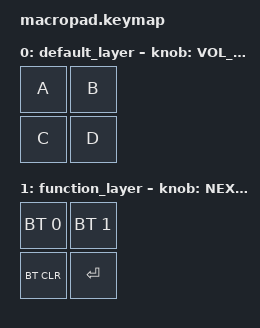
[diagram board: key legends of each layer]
#include <behaviors.dtsi>
#include <dt-bindings/zmk/keys.h>
#include <dt-bindings/zmk/bt.h>

/ {
    keymap {
        compatible = "zmk,keymap";

        default_layer {
            // 2x2 matrix: 4 buttons
            bindings = <
                &kp A    &kp B
                &kp C    &kp D
            >;
            // Encoder: volume up/down
            sensor-bindings = <&inc_dec_kp C_VOL_UP C_VOL_DN>;
        };
        
        function_layer {
            // Example second layer
            bindings = <
                &bt BT_SEL 0  &bt BT_SEL 1
                &bt BT_CLR    &kp ENTER
            >;
            sensor-bindings = <&inc_dec_kp C_NEXT C_PREV>;
        };
    };
};
